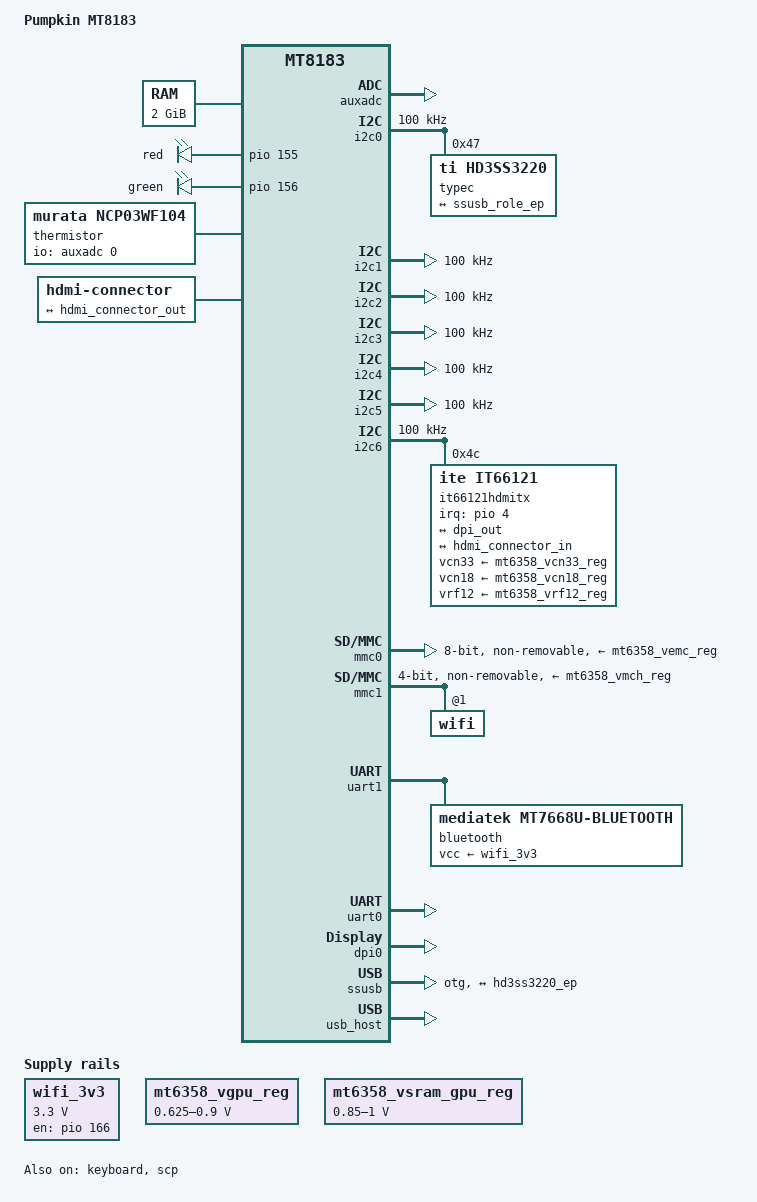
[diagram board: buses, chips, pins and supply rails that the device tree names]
// SPDX-License-Identifier: GPL-2.0
/*
 * Copyright (c) 2021 BayLibre, SAS.
 * Author: Fabien Parent <fparent@baylibre.com>
 */

/dts-v1/;

#include <dt-bindings/gpio/gpio.h>
#include <dt-bindings/input/input.h>
#include "mt8183.dtsi"
#include "mt6358.dtsi"

/ {
	model = "Pumpkin MT8183";
	compatible = "mediatek,mt8183-pumpkin", "mediatek,mt8183";

	aliases {
		serial0 = &uart0;
	};

	memory@40000000 {
		device_type = "memory";
		reg = <0 0x40000000 0 0x80000000>;
	};

	chosen {
		stdout-path = "serial0:115200n8";
	};

	reserved-memory {
		#address-cells = <2>;
		#size-cells = <2>;
		ranges;

		scp_mem_reserved: scp-mem@50000000 {
			compatible = "shared-dma-pool";
			reg = <0 0x50000000 0 0x2900000>;
			no-map;
		};
	};

	leds {
		compatible = "gpio-leds";

		led-red {
			label = "red";
			gpios = <&pio 155 GPIO_ACTIVE_HIGH>;
			default-state = "off";
		};

		led-green {
			label = "green";
			gpios = <&pio 156 GPIO_ACTIVE_HIGH>;
			default-state = "off";
		};
	};

	thermistor {
		compatible = "murata,ncp03wf104";
		pullup-uv = <1800000>;
		pullup-ohm = <390000>;
		pulldown-ohm = <0>;
		io-channels = <&auxadc 0>;
	};

	connector {
		compatible = "hdmi-connector";
		label = "hdmi";
		type = "d";

		port {
			hdmi_connector_in: endpoint {
				remote-endpoint = <&hdmi_connector_out>;
			};
		};
	};
};

&auxadc {
	status = "okay";
};

&gpu {
	mali-supply = <&mt6358_vgpu_reg>;
};

&i2c0 {
	pinctrl-names = "default";
	pinctrl-0 = <&i2c_pins_0>;
	status = "okay";
	clock-frequency = <100000>;
};

&i2c1 {
	pinctrl-names = "default";
	pinctrl-0 = <&i2c_pins_1>;
	status = "okay";
	clock-frequency = <100000>;
};

&i2c2 {
	pinctrl-names = "default";
	pinctrl-0 = <&i2c_pins_2>;
	status = "okay";
	clock-frequency = <100000>;
};

&i2c3 {
	pinctrl-names = "default";
	pinctrl-0 = <&i2c_pins_3>;
	status = "okay";
	clock-frequency = <100000>;
};

&i2c4 {
	pinctrl-names = "default";
	pinctrl-0 = <&i2c_pins_4>;
	status = "okay";
	clock-frequency = <100000>;
};

&i2c5 {
	pinctrl-names = "default";
	pinctrl-0 = <&i2c_pins_5>;
	status = "okay";
	clock-frequency = <100000>;
};

&i2c6 {
	pinctrl-names = "default";
	pinctrl-0 = <&i2c6_pins>;
	status = "okay";
	clock-frequency = <100000>;
	#address-cells = <1>;
	#size-cells = <0>;

	it66121hdmitx: hdmitx@4c {
		compatible = "ite,it66121";
		reg = <0x4c>;
		/*
		 * #sound-dai-cells registers the it66121 hdmi-codec
		 * (ite-it66121.c it66121_audio_codec_init) so the AFE
		 * I2S5 BE can route audio to HDMI. The machine card
		 * references this node via "mediatek,hdmi-codec".
		 */
		#sound-dai-cells = <0>;
		pinctrl-names = "default";
		pinctrl-0 = <&ite_pins>;
		/*
		 * No reset-gpios: GPIO160 is not a usable it66121 reset on this
		 * board -- pulsing it (since the 6.18.34 "acquire reset GPIO in
		 * probe" change) leaves the chip unresponsive on i2c6, so the
		 * bridge never binds and the DPI defers. The chip self-inits
		 * from power-on; the driver makes reset-gpios optional.
		 */
		interrupt-parent = <&pio>;
		interrupts = <4 IRQ_TYPE_LEVEL_LOW>;
		vcn33-supply = <&mt6358_vcn33_reg>;
		vcn18-supply = <&mt6358_vcn18_reg>;
		vrf12-supply = <&mt6358_vrf12_reg>;

		ports {
			#address-cells = <1>;
			#size-cells = <0>;

			port@0 {
				reg = <0>;

				it66121_in: endpoint {
					bus-width = <12>;
					remote-endpoint = <&dpi_out>;
				};
			};

			port@1 {
				reg = <1>;

				hdmi_connector_out: endpoint {
					remote-endpoint = <&hdmi_connector_in>;
				};
			};
		};
	};
};

&keyboard {
	pinctrl-names = "default";
	pinctrl-0 = <&keyboard_pins>;
	status = "okay";
	linux,keymap = <MATRIX_KEY(0x00, 0x00, KEY_VOLUMEDOWN)
			MATRIX_KEY(0x01, 0x00, KEY_VOLUMEUP)>;
	keypad,num-rows = <2>;
	keypad,num-columns = <1>;
	debounce-delay-ms = <32>;
	mediatek,keys-per-group = <2>;
};

&mmc0 {
	status = "okay";
	pinctrl-names = "default", "state_uhs";
	pinctrl-0 = <&mmc0_pins_default>;
	pinctrl-1 = <&mmc0_pins_uhs>;
	bus-width = <8>;
	max-frequency = <200000000>;
	cap-mmc-highspeed;
	mmc-hs200-1_8v;
	mmc-hs400-1_8v;
	cap-mmc-hw-reset;
	no-sdio;
	no-sd;
	hs400-ds-delay = <0x12814>;
	/* §3.1 DRAM-read-concurrency boot-mitigation (i500-only): shrink the MSDC
	 * DMA burst 64B->8B so the eMMC read footprint stays under the depth-4
	 * read-queue floor.
	 * Absent on all other boards -> unchanged MSDC_BURST_64B behaviour. */
	mediatek,dma-max-burst = <3>;
	vmmc-supply = <&mt6358_vemc_reg>;
	vqmmc-supply = <&mt6358_vio18_reg>;
	assigned-clocks = <&topckgen CLK_TOP_MUX_MSDC50_0>;
	assigned-clock-parents = <&topckgen CLK_TOP_MSDCPLL_CK>;
	non-removable;
};

&mmc1 {
	status = "okay";
	pinctrl-names = "default", "state_uhs";
	pinctrl-0 = <&mmc1_pins_default>;
	pinctrl-1 = <&mmc1_pins_uhs>;
	bus-width = <4>;
	max-frequency = <200000000>;
	cap-sd-highspeed;
	sd-uhs-sdr50;
	sd-uhs-sdr104;
	cap-sdio-irq;
	no-mmc;
	no-sd;
	/* §3.1 boot-mitigation (i500-only): shrink the WiFi-SDIO MSDC DMA burst
	 * 64B->8B (the boot/apt read-storm is WiFi-SDIO + eMMC DMA driven). Absent
	 * on other boards -> unchanged MSDC_BURST_64B. */
	mediatek,dma-max-burst = <3>;
	vmmc-supply = <&mt6358_vmch_reg>;
	vqmmc-supply = <&mt6358_vmc_reg>;
	keep-power-in-suspend;
	wakeup-source;
	non-removable;

	#address-cells = <1>;
	#size-cells = <0>;

	/* mt7668 SDIO WiFi (function 1, 037A:7608). Gives the out-of-tree
	 * fullmac (gen4m) driver an of_node carrying local-mac-address; the
	 * chip has no MAC/serial, so the driver derives a stable MAC from the
	 * per-die efuse cal. Add a local-mac-address here to provision one.
	 * The driver itself ships out-of-tree (libretech-mt7668-dkms). */
	wifi@1 {
		reg = <1>;
	};
};

/ {
	/* mt7668 WiFi 3.3V DC/DC rail (GPIO166) -- the combo card needs this
	 * powered to enumerate on SDIO. */
	wifi_3v3: regulator-wifi-3v3 {
		compatible = "regulator-fixed";
		regulator-name = "wifi_3v3";
		regulator-min-microvolt = <3300000>;
		regulator-max-microvolt = <3300000>;
		gpio = <&pio 166 GPIO_ACTIVE_HIGH>;
		enable-active-high;
		regulator-boot-on;
		regulator-always-on;
		pinctrl-names = "default";
		pinctrl-0 = <&wifi_en_pins>;
	};
};

&mt6358_vgpu_reg {
	regulator-min-microvolt = <625000>;
	regulator-max-microvolt = <900000>;

	regulator-coupled-with = <&mt6358_vsram_gpu_reg>;
	regulator-coupled-max-spread = <100000>;
};

&mt6358_vsram_gpu_reg {
	regulator-min-microvolt = <850000>;
	regulator-max-microvolt = <1000000>;

	regulator-coupled-with = <&mt6358_vgpu_reg>;
	regulator-coupled-max-spread = <100000>;
};

&uart1 {
	/* No pinctrl here: the bluetooth child owns the UART1 pins (its
	 * "default"/boot + "runtime" states), per the mt76xx-bt binding.
	 * Claiming them on the uart node too makes the child fail with
	 * "pin GPIO121 already requested by 11003000.serial". */
	status = "okay";

	bluetooth {
		compatible = "mediatek,mt7668u-bluetooth";
		vcc-supply = <&wifi_3v3>;
		pinctrl-names = "default", "runtime";
		pinctrl-0 = <&bt_pins_boot>;
		pinctrl-1 = <&uart1_pins>;
		current-speed = <921600>;
	};
};

&pio {
	i2c_pins_0: i2c0 {
		pins_i2c {
			pinmux = <PINMUX_GPIO82__FUNC_SDA0>,
				 <PINMUX_GPIO83__FUNC_SCL0>;
			mediatek,pull-up-adv = <3>;
		};
	};

	i2c_pins_1: i2c1 {
		pins_i2c {
			pinmux = <PINMUX_GPIO81__FUNC_SDA1>,
				 <PINMUX_GPIO84__FUNC_SCL1>;
			mediatek,pull-up-adv = <3>;
		};
	};

	i2c_pins_2: i2c2 {
		pins_i2c {
			pinmux = <PINMUX_GPIO103__FUNC_SCL2>,
				 <PINMUX_GPIO104__FUNC_SDA2>;
			mediatek,pull-up-adv = <3>;
		};
	};

	i2c_pins_3: i2c3 {
		pins_i2c {
			pinmux = <PINMUX_GPIO50__FUNC_SCL3>,
				 <PINMUX_GPIO51__FUNC_SDA3>;
			mediatek,pull-up-adv = <3>;
		};
	};

	i2c_pins_4: i2c4 {
		pins_i2c {
			pinmux = <PINMUX_GPIO105__FUNC_SCL4>,
				 <PINMUX_GPIO106__FUNC_SDA4>;
			mediatek,pull-up-adv = <3>;
		};
	};

	i2c_pins_5: i2c5 {
		pins_i2c {
			pinmux = <PINMUX_GPIO48__FUNC_SCL5>,
				 <PINMUX_GPIO49__FUNC_SDA5>;
			mediatek,pull-up-adv = <3>;
		};
	};

	i2c6_pins: i2c6 {
		pins_cmd_dat {
			pinmux = <PINMUX_GPIO113__FUNC_SCL6>,
				 <PINMUX_GPIO114__FUNC_SDA6>;
			mediatek,pull-up-adv = <3>;
		};
	};

	keyboard_pins: keyboard {
		pins_keyboard {
			pinmux = <PINMUX_GPIO91__FUNC_KPROW1>,
				 <PINMUX_GPIO92__FUNC_KPROW0>,
				 <PINMUX_GPIO93__FUNC_KPCOL0>;
		};
	};

	mmc0_pins_default: mmc0-pins-default {
		pins_cmd_dat {
			pinmux = <PINMUX_GPIO123__FUNC_MSDC0_DAT0>,
				 <PINMUX_GPIO128__FUNC_MSDC0_DAT1>,
				 <PINMUX_GPIO125__FUNC_MSDC0_DAT2>,
				 <PINMUX_GPIO132__FUNC_MSDC0_DAT3>,
				 <PINMUX_GPIO126__FUNC_MSDC0_DAT4>,
				 <PINMUX_GPIO129__FUNC_MSDC0_DAT5>,
				 <PINMUX_GPIO127__FUNC_MSDC0_DAT6>,
				 <PINMUX_GPIO130__FUNC_MSDC0_DAT7>,
				 <PINMUX_GPIO122__FUNC_MSDC0_CMD>;
			input-enable;
			drive-strength = <MTK_DRIVE_14mA>;
			mediatek,pull-up-adv = <01>;
		};

		pins_clk {
			pinmux = <PINMUX_GPIO124__FUNC_MSDC0_CLK>;
			drive-strength = <MTK_DRIVE_14mA>;
			mediatek,pull-down-adv = <2>;
		};

		pins_rst {
			pinmux = <PINMUX_GPIO133__FUNC_MSDC0_RSTB>;
			drive-strength = <MTK_DRIVE_14mA>;
			mediatek,pull-down-adv = <01>;
		};
	};

	mmc0_pins_uhs: mmc0-pins-uhs {
		pins_cmd_dat {
			pinmux = <PINMUX_GPIO123__FUNC_MSDC0_DAT0>,
				 <PINMUX_GPIO128__FUNC_MSDC0_DAT1>,
				 <PINMUX_GPIO125__FUNC_MSDC0_DAT2>,
				 <PINMUX_GPIO132__FUNC_MSDC0_DAT3>,
				 <PINMUX_GPIO126__FUNC_MSDC0_DAT4>,
				 <PINMUX_GPIO129__FUNC_MSDC0_DAT5>,
				 <PINMUX_GPIO127__FUNC_MSDC0_DAT6>,
				 <PINMUX_GPIO130__FUNC_MSDC0_DAT7>,
				 <PINMUX_GPIO122__FUNC_MSDC0_CMD>;
			input-enable;
			drive-strength = <MTK_DRIVE_14mA>;
			mediatek,pull-up-adv = <01>;
		};

		pins_clk {
			pinmux = <PINMUX_GPIO124__FUNC_MSDC0_CLK>;
			drive-strength = <MTK_DRIVE_14mA>;
			mediatek,pull-down-adv = <2>;
		};

		pins_ds {
			pinmux = <PINMUX_GPIO131__FUNC_MSDC0_DSL>;
			drive-strength = <MTK_DRIVE_14mA>;
			mediatek,pull-down-adv = <2>;
		};

		pins_rst {
			pinmux = <PINMUX_GPIO133__FUNC_MSDC0_RSTB>;
			drive-strength = <MTK_DRIVE_14mA>;
			mediatek,pull-up-adv = <01>;
		};
	};

	mmc1_pins_default: mmc1-pins-default {
		pins_cmd_dat {
			pinmux = <PINMUX_GPIO31__FUNC_MSDC1_CMD>,
				 <PINMUX_GPIO32__FUNC_MSDC1_DAT0>,
				 <PINMUX_GPIO34__FUNC_MSDC1_DAT1>,
				 <PINMUX_GPIO33__FUNC_MSDC1_DAT2>,
				 <PINMUX_GPIO30__FUNC_MSDC1_DAT3>;
			input-enable;
			mediatek,pull-up-adv = <2>;
		};

		pins_clk {
			pinmux = <PINMUX_GPIO29__FUNC_MSDC1_CLK>;
			input-enable;
			mediatek,pull-down-adv = <2>;
		};

		pins_pmu {
			pinmux = <PINMUX_GPIO178__FUNC_GPIO178>;
			output-high;
		};
	};

	wifi_en_pins: wifi-en-pins {
		pins-wifi-en {
			pinmux = <PINMUX_GPIO166__FUNC_GPIO166>;
			output-high;
		};
	};

	mmc1_pins_uhs: mmc1-pins-uhs {
		pins_cmd_dat {
			pinmux = <PINMUX_GPIO31__FUNC_MSDC1_CMD>,
				 <PINMUX_GPIO32__FUNC_MSDC1_DAT0>,
				 <PINMUX_GPIO34__FUNC_MSDC1_DAT1>,
				 <PINMUX_GPIO33__FUNC_MSDC1_DAT2>,
				 <PINMUX_GPIO30__FUNC_MSDC1_DAT3>;
			drive-strength = <6>;
			input-enable;
			mediatek,pull-up-adv = <2>;
		};

		pins_clk {
			pinmux = <PINMUX_GPIO29__FUNC_MSDC1_CLK>;
			drive-strength = <8>;
			mediatek,pull-down-adv = <2>;
			input-enable;
		};
	};

	ite_pins: ite-pins {
		pins-irq {
			pinmux = <PINMUX_GPIO4__FUNC_GPIO4>;
			input-enable;
			bias-pull-up;
		};

		pins-rst {
			pinmux = <PINMUX_GPIO160__FUNC_GPIO160>;
			output-high;
		};
	};

	dpi_func_pins: dpi-func-pins {
		pins-dpi {
			pinmux = <PINMUX_GPIO11__FUNC_I2S5_MCK>,
				 <PINMUX_GPIO89__FUNC_I2S5_BCK>,
				 <PINMUX_GPIO46__FUNC_I2S5_LRCK>,
				 <PINMUX_GPIO47__FUNC_I2S5_DO>,
				 <PINMUX_GPIO13__FUNC_DBPI_D0>,
				 <PINMUX_GPIO14__FUNC_DBPI_D1>,
				 <PINMUX_GPIO15__FUNC_DBPI_D2>,
				 <PINMUX_GPIO16__FUNC_DBPI_D3>,
				 <PINMUX_GPIO17__FUNC_DBPI_D4>,
				 <PINMUX_GPIO18__FUNC_DBPI_D5>,
				 <PINMUX_GPIO19__FUNC_DBPI_D6>,
				 <PINMUX_GPIO20__FUNC_DBPI_D7>,
				 <PINMUX_GPIO21__FUNC_DBPI_D8>,
				 <PINMUX_GPIO22__FUNC_DBPI_D9>,
				 <PINMUX_GPIO23__FUNC_DBPI_D10>,
				 <PINMUX_GPIO24__FUNC_DBPI_D11>,
				 <PINMUX_GPIO25__FUNC_DBPI_HSYNC>,
				 <PINMUX_GPIO26__FUNC_DBPI_VSYNC>,
				 <PINMUX_GPIO27__FUNC_DBPI_DE>,
				 <PINMUX_GPIO28__FUNC_DBPI_CK>;
		};
	};

	dpi_idle_pins: dpi-idle-pins {
		pins-idle {
			pinmux = <PINMUX_GPIO11__FUNC_GPIO11>,
				 <PINMUX_GPIO89__FUNC_GPIO89>,
				 <PINMUX_GPIO46__FUNC_GPIO46>,
				 <PINMUX_GPIO47__FUNC_GPIO47>,
				 <PINMUX_GPIO13__FUNC_GPIO13>,
				 <PINMUX_GPIO14__FUNC_GPIO14>,
				 <PINMUX_GPIO15__FUNC_GPIO15>,
				 <PINMUX_GPIO16__FUNC_GPIO16>,
				 <PINMUX_GPIO17__FUNC_GPIO17>,
				 <PINMUX_GPIO18__FUNC_GPIO18>,
				 <PINMUX_GPIO19__FUNC_GPIO19>,
				 <PINMUX_GPIO20__FUNC_GPIO20>,
				 <PINMUX_GPIO21__FUNC_GPIO21>,
				 <PINMUX_GPIO22__FUNC_GPIO22>,
				 <PINMUX_GPIO23__FUNC_GPIO23>,
				 <PINMUX_GPIO24__FUNC_GPIO24>,
				 <PINMUX_GPIO25__FUNC_GPIO25>,
				 <PINMUX_GPIO26__FUNC_GPIO26>,
				 <PINMUX_GPIO27__FUNC_GPIO27>,
				 <PINMUX_GPIO28__FUNC_GPIO28>;
		};
	};

	bt_pins_boot: bt-boot-pins {
		pins-bt-rxd {
			pinmux = <PINMUX_GPIO121__FUNC_GPIO121>;
			output-low;
		};
	};

	uart1_pins: uart1-pins {
		pins-uart {
			pinmux = <PINMUX_GPIO115__FUNC_UTXD1>,
				 <PINMUX_GPIO121__FUNC_URXD1>;
		};
	};
};

&pmic {
	interrupts-extended = <&pio 182 IRQ_TYPE_LEVEL_HIGH>;
};

&mfg_async {
	domain-supply = <&mt6358_vsram_gpu_reg>;
};

&mfg {
	domain-supply = <&mt6358_vgpu_reg>;
};

&cci {
	proc-supply = <&mt6358_vproc12_reg>;
};

&cpu0 {
	proc-supply = <&mt6358_vproc12_reg>;
};

&cpu1 {
	proc-supply = <&mt6358_vproc12_reg>;
};

&cpu2 {
	proc-supply = <&mt6358_vproc12_reg>;
};

&cpu3 {
	proc-supply = <&mt6358_vproc12_reg>;
};

&cpu4 {
	proc-supply = <&mt6358_vproc11_reg>;
};

&cpu5 {
	proc-supply = <&mt6358_vproc11_reg>;
};

&cpu6 {
	proc-supply = <&mt6358_vproc11_reg>;
};

&cpu7 {
	proc-supply = <&mt6358_vproc11_reg>;
};

&uart0 {
	status = "okay";
};

/*
 * firmware-name is load-bearing here and its absence is a silent trap.
 * scp_rproc_init() pre-initialises fw_name to the BARE string "scp.img"
 * (drivers/remoteproc/mtk_scp.c:1188) and then tolerates -EINVAL from
 * rproc_of_parse_firmware() (:1193), so without the property the driver asks
 * request_firmware() for "scp.img" at the TOP of the firmware search path.
 * No such file ships: linux-firmware puts the MT8183 image at
 * mediatek/mt8183/scp.img and there is no top-level scp.img. request_firmware()
 * does a literal path lookup with no subdirectory search, so the load fails and
 * both vcodec nodes -- which mt8183.dtsi wires to &scp unconditionally -- abort
 * probe. mt8183-kukui.dtsi and mt8183-med-mt83-ace.dts both set the property.
 */
&scp {
	status = "okay";
	firmware-name = "mediatek/mt8183/scp.img";
};

&dpi0 {
	pinctrl-names = "default", "sleep";
	pinctrl-0 = <&dpi_func_pins>;
	pinctrl-1 = <&dpi_idle_pins>;
	status = "okay";
};

&dpi_out {
	remote-endpoint = <&it66121_in>;
};

/* Genio 500 / i500: MT6358 internal-codec ALSA card (no external amp/jack). */
/ {
	sound {
		compatible = "mediatek,mt8183-mt6358-sound";
		mediatek,platform = <&afe>;
		/*
		 * HDMI audio: routes AFE I2S5 (pinned in dpi_func_pins) to
		 * the it66121 hdmi-codec DAI ("i2s-hifi"). The bare mt8183_mt6358
		 * card enables its Playback_HDMI FE + I2S5 BE only when this
		 * phandle is present (mt8183-mt6358-ts3a227-max98357.c probe).
		 */
		mediatek,hdmi-codec = <&it66121hdmitx>;
		status = "okay";
	};
};

&mt6358codec {
	Avdd-supply = <&mt6358_vaud28_reg>;
};

/* i500: MT8183 has no SoC Ethernet MAC; networking is a USB device on the single
 * SSUSB (mtu3) controller. Dual-role (OTG) so userspace can hot-swap host<->device
 * via /sys/class/usb_role/<sw>/role; default = host (the working path + what the
 * USB-Ethernet use case needs).
 *
 * Why mediatek,u3p-dis-msk: the MT8183 SSUSB IP reports a U3 (SuperSpeed) device port
 * in SSUSB_IP_DEV_CAP, so mtu->u3_capable defaults to 1 (mtu3_core.c:864). But the
 * board is USB2-only (no U3 PHY), so device-mode init (mtu3_device_enable) would wait
 * on SSUSB_U3_MAC_RST_B_STS, which never asserts -> ssusb_check_clocks() returns -110
 * "clks of sts1 not stable" (the historical OTG/device wall). Disabling U3 port0 makes
 * mtu3_core.c:825 clear u3_capable -> the device clock check drops the U3-MAC bit and
 * becomes the same common+U2 check the host path already passes. maximum-speed caps the
 * advertised speed to match (U2-only). */
&ssusb {
	dr_mode = "otg";
	maximum-speed = "high-speed";
	mediatek,u3p-dis-msk = <0x1>;
	usb-role-switch;
	role-switch-default-mode = "host";
	vusb33-supply = <&mt6358_vusb_reg>;
	status = "okay";
};

&usb_host {
	vusb33-supply = <&mt6358_vusb_reg>;
	status = "okay";
};

/* CC-driven USB role: hd3ss3220 (register-compat with the TUSB322i @0x47) as the
 * usb-role-switch source; polled (no interrupts -> avoids the GPIO166/wifi_3v3
 * IRQ conflict), edge-triggered so a userspace override (/sys/class/usb_role)
 * holds. The &ssusb above is already dr_mode=otg + usb-role-switch. */
&i2c0 {
	typec@47 {
		compatible = "ti,hd3ss3220";
		reg = <0x47>;
		connector {
			compatible = "usb-c-connector";
			label = "usb-c";
			data-role = "dual";
			power-role = "dual";
			port {
				hd3ss3220_ep: endpoint {
					remote-endpoint = <&ssusb_role_ep>;
				};
			};
		};
	};
};

&ssusb {
	port {
		ssusb_role_ep: endpoint {
			remote-endpoint = <&hd3ss3220_ep>;
		};
	};
};

/* LAN9512 hub-enablement (df7763d): force-vbus for host-mode VBUS-valid + GPIO9
 * hub-reset (output-low releases it) + GPIO42. Needed so cable-out -> host -> the
 * LAN9512 enumerates; coexists with the hd3ss3220 CC role-switch above. */
&ssusb {
	mediatek,force-vbus;
	pinctrl-names = "default";
	pinctrl-0 = <&pins_usb &pins_hub_rst>;
};

&pio {
	pins_usb: usb-pins {
		pins-vbus {
			pinmux = <PINMUX_GPIO42__FUNC_GPIO42>;
			output-low;
		};
	};
	pins_hub_rst: usb-hub-rst-pins {
		pins-hub-rst {
			pinmux = <PINMUX_GPIO9__FUNC_GPIO9>;
			output-low;
		};
	};
};
